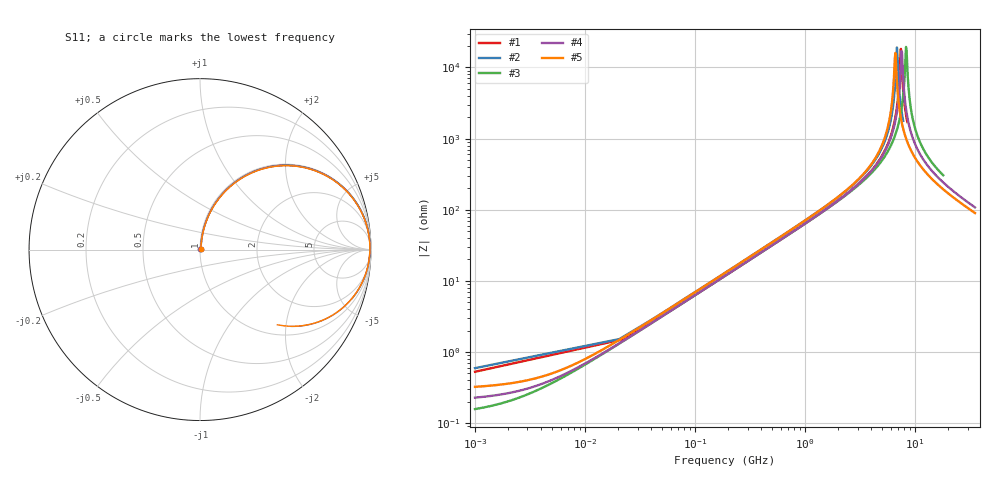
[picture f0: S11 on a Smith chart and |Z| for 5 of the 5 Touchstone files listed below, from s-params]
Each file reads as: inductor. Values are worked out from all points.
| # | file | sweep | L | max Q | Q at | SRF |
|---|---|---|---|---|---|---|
| 1 | 03CS10N.s2p | 1 MHz to 8.5 GHz | 10 nH | 115 | 2.763 GHz | 7.416 GHz |
| 2 | 03CS11N.s2p | 1 MHz to 7.8 GHz | 11 nH | 103 | 2.594 GHz | 6.825 GHz |
| 3 | 0402CT-10N.s2p | 1 MHz to 18 GHz | 10 nH | 75.4 | 2.776 GHz | 8.262 GHz |
| 4 | 026011C-10NXJR.s2p | 1 MHz to 35 GHz | 10 nH | 79.1 | 2.542 GHz | 7.521 GHz |
| 5 | 026011C-11NXJR.s2p | 1 MHz to 35 GHz | 11 nH | 65.3 | 2.325 GHz | 6.543 GHz |
